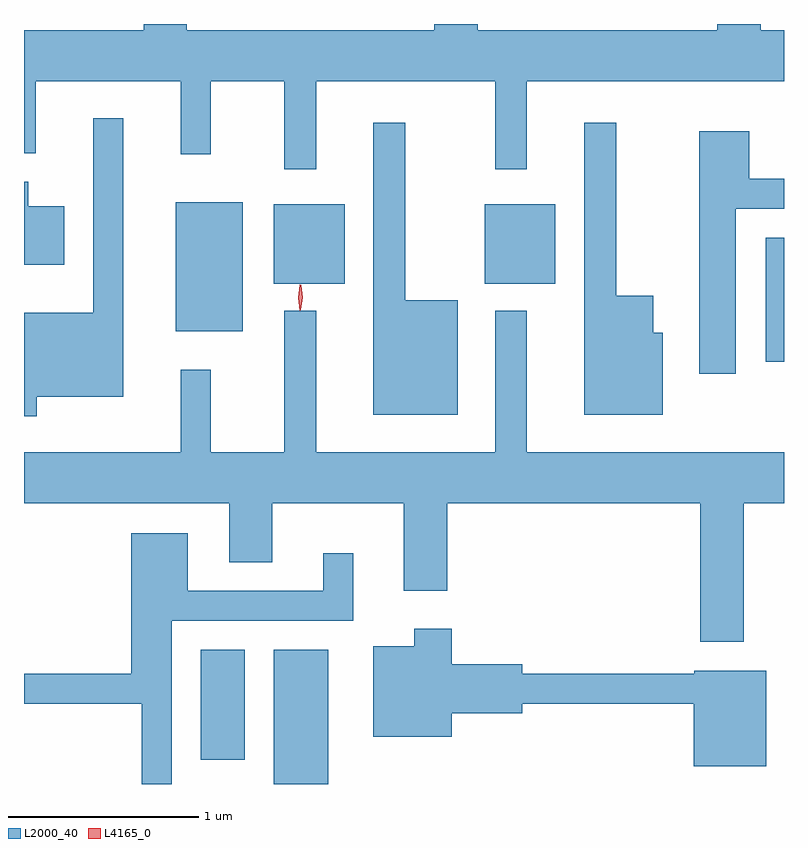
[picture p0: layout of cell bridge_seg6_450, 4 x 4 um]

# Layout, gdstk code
import gdstk
lib = gdstk.Library(unit=1e-6, precision=1e-09)
def R(c, l, rs):  # rectangles x0, y0, x1, y1
    for r in rs: c.add(gdstk.rectangle(r[:2], r[2:], *l))
def P(c, l, *ps):  # polygons
    for p in ps: c.add(gdstk.Polygon(p, *l))
L2000_40 = (2000, 40)
L4165_0 = (4165, 0)

bridge_seg6_450 = lib.new_cell('bridge_seg6_450')
R(bridge_seg6_450, L2000_40, [(624.146,1548.558,624.434,1549.264), (623.761,1548.686,623.994,1549.264), (626.736,1550.781,626.832,1551.434), (623.631,1550.941,623.984,1551.619), (624.146,1551.191,624.519,1551.609), (625.256,1551.191,625.629,1551.609)])
P(bridge_seg6_450, L2000_40, [(624.369,1552.256),(625.311,1552.256),(625.311,1551.793),(625.479,1551.793),(625.479,1552.256),(626.832,1552.256),(626.832,1552.524),(626.709,1552.524),(626.709,1552.558),(626.481,1552.558),(626.481,1552.524),(625.219,1552.524),(625.219,1552.558),(624.991,1552.558),(624.991,1552.524),(623.689,1552.524),(623.689,1552.558),(623.461,1552.558),(623.461,1552.524),(622.832,1552.524),(622.832,1551.878),(622.894,1551.878),(622.894,1552.256),(623.656,1552.256),(623.656,1551.873),(623.814,1551.873),(623.814,1552.256),(624.201,1552.256),(624.201,1551.793),(624.369,1551.793)],
  [(622.899,1550.596),(623.354,1550.596),(623.354,1552.063),(623.196,1552.063),(623.196,1551.039),(622.832,1551.039),(622.832,1550.493),(622.899,1550.493)],
  [(626.194,1550.934),(626.144,1550.934),(626.144,1551.129),(625.949,1551.129),(625.949,1552.038),(625.781,1552.038),(625.781,1550.501),(626.194,1550.501)],
  [(625.114,1551.104),(624.839,1551.104),(624.839,1552.038),(624.671,1552.038),(624.671,1550.501),(625.114,1550.501)],
  [(626.579,1551.586),(626.832,1551.586),(626.832,1551.744),(626.649,1551.744),(626.649,1551.994),(626.386,1551.994),(626.386,1550.716),(626.579,1550.716)],
  [(623.044,1551.599),(622.854,1551.599),(622.854,1551.729),(622.832,1551.729),(622.832,1551.291),(623.044,1551.291)],
  [(626.619,1550.036),(626.832,1550.036),(626.832,1550.304),(625.479,1550.304),(625.479,1551.048),(625.311,1551.048),(625.311,1550.304),(624.369,1550.304),(624.369,1551.048),(624.201,1551.048),(624.201,1550.304),(623.814,1550.304),(623.814,1550.738),(623.656,1550.738),(623.656,1550.304),(622.832,1550.304),(622.832,1550.036),(623.911,1550.036),(623.911,1549.726),(624.139,1549.726),(624.139,1550.036),(624.831,1550.036),(624.831,1549.576),(625.059,1549.576),(625.059,1550.036),(626.391,1550.036),(626.391,1549.306),(626.619,1549.306)],
  [(623.609,1549.416),(624.564,1549.416),(624.564,1549.773),(624.406,1549.773),(624.406,1549.574),(623.694,1549.574),(623.694,1549.879),(623.396,1549.879),(623.396,1549.139),(622.832,1549.139),(622.832,1548.981),(623.451,1548.981),(623.451,1548.558),(623.609,1548.558)],
  [(626.739,1549.154),(626.36,1549.154),(626.36,1549.139),(625.454,1549.139),(625.454,1549.189),(625.084,1549.189),(625.084,1549.374),(624.886,1549.374),(624.886,1549.284),(624.671,1549.284),(624.671,1548.806),(625.084,1548.806),(625.084,1548.931),(625.454,1548.931),(625.454,1548.981),(626.356,1548.981),(626.356,1548.651),(626.739,1548.651)])
P(bridge_seg6_450, L4165_0, [(624.287,1551.053),(624.278,1551.118),(624.289,1551.182),(624.289,1551.182),(624.29,1551.182),(624.298,1551.117),(624.288,1551.053),(624.288,1551.053)],
  [(624.284,1551.05),(624.275,1551.118),(624.284,1551.186),(624.285,1551.186),(624.285,1551.186),(624.295,1551.118),(624.285,1551.05),(624.285,1551.05)])

lib.write_gds('bridge_seg6_450.gds')
